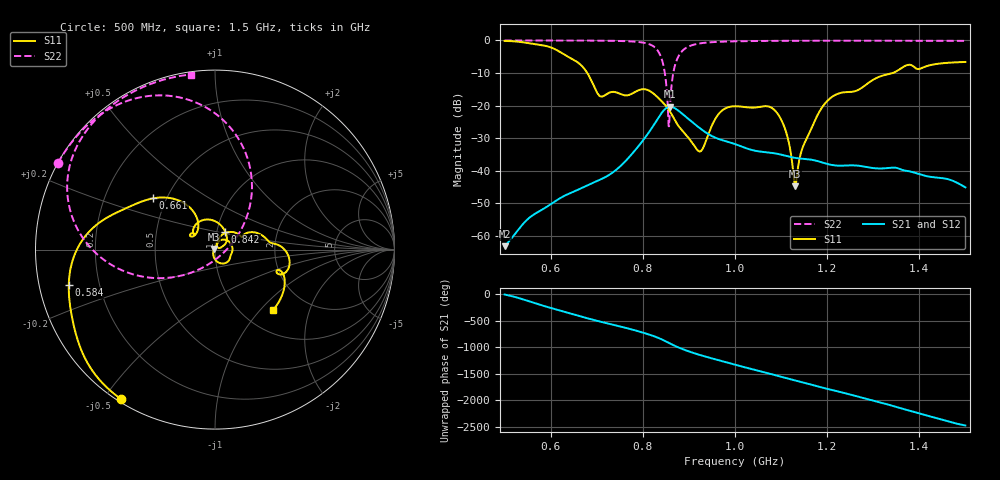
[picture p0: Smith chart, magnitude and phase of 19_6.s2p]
! TOUCHSTONE file generated by CST MICROWAVE STUDIO
! Date and time: Sat Oct 24 11:46:39 2020
! Project name: Scenario_1_Circular_Tissue_out_of_Line.cst
! Parameters = {dy1=-33.862; L_HA=400; MT=2.54; Rad_Dielectric=30; Rad_Lower=7.3; Rad_Upper=30; a_HA=580; a_WG=246; b_HA=500; b_WG=121; c_HA=0; c_WG=187; d_feed=85; dx1=1039; h_feed=15; h_lower=18; h_upper=40}
! Header version: 2018
! Port assignment regex: !\s*Touchstone port\s*([0-9]+)\s*=\s*(CST MWS port|CST DS port)\s*([0-9]+|Zmin|Zmax)\s*\(\"(.*)\"\)(\s*mode\s*([0-9]+))?.*
! Touchstone port assignment:
! Touchstone port 1 = CST MWS port 1 ("")
! Touchstone port 2 = CST MWS port 2 ("")
# GHz S DB R 50
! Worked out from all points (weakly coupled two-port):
!   1001 points, 500 MHz to 1.5 GHz, reference 50 ohm
!   highest |S21| = -20.35 dB at 859 MHz (marker M1); lowest = -63.2 dB at 500 MHz (marker M2)
!   lowest |S11| = -44.8 dB at 1.131 GHz (marker M3), VSWR 1.01, Z = 49.5 + j0.286 ohm
!   |S11| at or under -10 dB: 679.5 MHz to 1.342 GHz (662.8 MHz wide, 65.6 % of centre)
!   |S22| runs from -26.4 to 0.0 dB; largest |S21 - S12| = 5.2e-06
!   S11 on the Smith chart (normalised r, x): 500 MHz: 0.01, -0.55; 584 MHz: 0.09, -0.12; 661 MHz: 0.42, +0.30; 842 MHz: 1.10, +0.22; 1.5 GHz: 1.37, -1.18
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0.5  -0.15 -122.2  -63.15 -2.6  -63.15 -2.6  -0.01 151.1
0.584  -1.53 -166.4  -51.72 144.6  -51.72 144.6  -0.02 145.3
0.661  -6.99 140.3  -45.72 -47.1  -45.72 -47.1  -0.04 138.9
0.667  -7.74 134.9  -45.32 -61.3  -45.32 -61.3  -0.04 138.3
0.708  -17.18 137.7  -42.68 -156.0  -42.68 -156.0  -0.07 133.8
0.789  -15.39 134.2  -32.71 26.3  -32.71 26.3  -0.45 117.1
0.834  -17.71 70.6  -23.67 -103.3  -23.67 -103.3  -3.49 81.4
0.842  -18.85 60.0  -22.03 -134.0  -22.03 -134.0  -6.19 66.3
0.854  -20.77 43.6  -20.50 174.3  -20.50 174.3  -19.87 20.1
0.859  -21.82 36.7  -20.35 152.1  -20.35 152.1  -20.07 -117.7
0.867  -23.87 28.4  -20.63 117.9  -20.63 117.9  -9.29 -152.4
0.877  -26.18 24.1  -21.53 78.9  -21.53 78.9  -4.94 -170.3
0.923  -34.09 40.3  -26.86 -62.7  -26.86 -62.7  -0.93 156.4
0.964  -22.67 49.3  -30.22 -161.8  -30.22 -161.8  -0.42 145.8
1  -20.20 4.5  -31.80 112.2  -31.80 112.2  -0.27 140.1
1.089  -21.85 -69.3  -34.73 -91.1  -34.73 -91.1  -0.13 130.6
1.112  -28.66 -103.2  -35.49 -144.4  -35.49 -144.4  -0.12 128.6
1.131  -44.79 149.9  -36.07 173.4  -36.07 173.4  -0.11 127.0
1.167  -26.62 72.7  -36.64 91.0  -36.64 91.0  -0.10 124.1
1.211  -17.28 45.9  -38.25 -7.6  -38.25 -7.6  -0.09 120.7
1.334  -10.33 8.2  -39.14 74.1  -39.14 74.1  -0.09 111.4
1.5  -6.61 -46.0  -45.10 43.5  -45.11 43.5  -0.14 97.8
